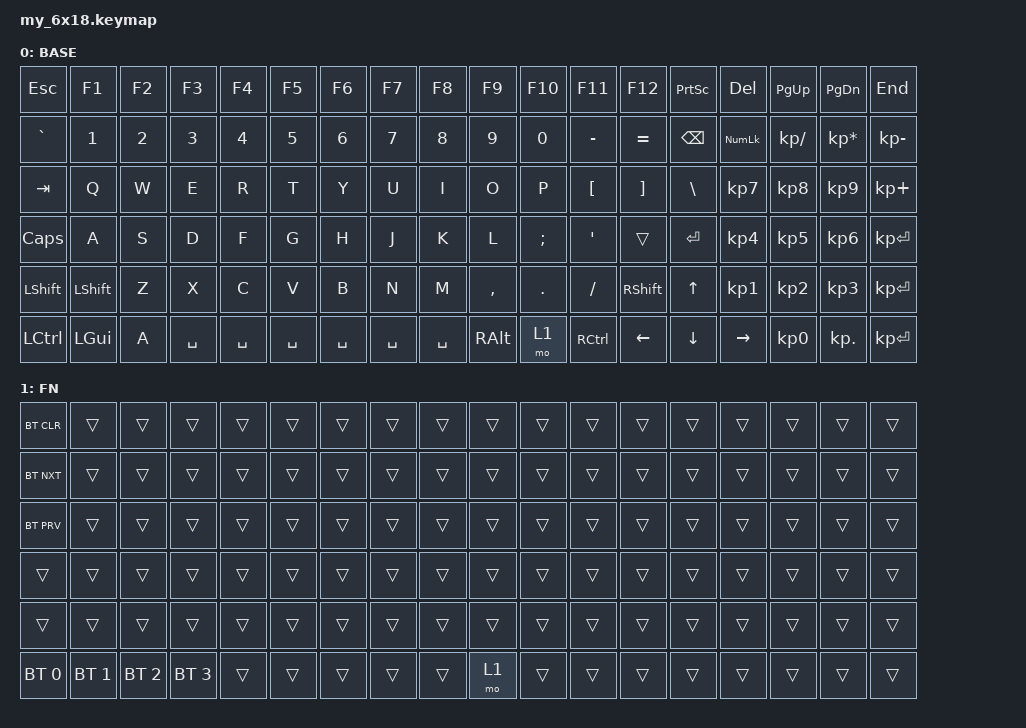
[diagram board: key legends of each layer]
#include <behaviors.dtsi>
#include <dt-bindings/zmk/keys.h>
#include <dt-bindings/zmk/bt.h>
#include <dt-bindings/zmk/outputs.h>

#define BASE 0
#define FN   1

/ {
    keymap {
        compatible = "zmk,keymap";

        base_layer {
            label = "BASE";
            bindings = <

                &kp ESC     &kp F1    &kp F2   &kp F3    &kp F4    &kp F5    &kp F6    &kp F7    &kp F8    &kp F9    &kp F10   &kp F11   &kp F12   &kp PSCRN          &kp DEL            &kp PG_UP           &kp PG_DN         &kp END

                &kp GRAVE   &kp N1    &kp N2   &kp N3    &kp N4    &kp N5    &kp N6    &kp N7    &kp N8    &kp N9    &kp N0    &kp MINUS &kp EQUAL &kp BSPC           &kp KP_NUMLOCK     &kp KP_SLASH        &kp KP_MULTIPLY   &kp KP_MINUS

                &kp TAB     &kp Q     &kp W    &kp E     &kp R     &kp T     &kp Y     &kp U     &kp I     &kp O     &kp P     &kp LBKT  &kp RBKT  &kp BSLH           &kp KP_NUMBER_7    &kp KP_NUMBER_8     &kp KP_NUMBER_9   &kp KP_PLUS

                &kp CLCK    &kp A     &kp S    &kp D     &kp F     &kp G     &kp H     &kp J     &kp K     &kp L     &kp SEMI  &kp SQT   &trans    &kp RET            &kp KP_NUMBER_4    &kp KP_NUMBER_5     &kp KP_NUMBER_6   &kp KP_ENTER

                &kp LSHFT   &kp LSHFT &kp Z    &kp X     &kp C     &kp V     &kp B     &kp N     &kp M     &kp COMMA &kp DOT   &kp FSLH  &kp RSHFT         &kp UP     &kp KP_NUMBER_1    &kp KP_NUMBER_2     &kp KP_NUMBER_3   &kp KP_ENTER

                &kp LCTRL   &kp LGUI  &kp A    &kp SPACE &kp SPACE &kp SPACE &kp SPACE &kp SPACE &kp SPACE &kp RALT  &mo 1     &kp RCTRL         &kp LEFT  &kp DOWN   &kp RIGHT          &kp KP_NUMBER_0     &kp KP_DOT        &kp KP_ENTER

            >;
        };

        fn_layer {
            label = "FN";
            bindings = <

                &bt BT_CLR     &trans           &trans           &trans     &trans         &trans     &trans     &trans     &trans     &trans     &trans     &trans     &trans     &trans        &trans     &trans     &trans     &trans

                &bt BT_NXT     &trans           &trans           &trans         &trans     &trans     &trans     &trans     &trans     &trans     &trans     &trans     &trans     &trans        &trans     &trans     &trans     &trans

                &bt BT_PRV     &trans           &trans           &trans         &trans     &trans     &trans     &trans     &trans     &trans     &trans     &trans     &trans     &trans        &trans     &trans     &trans     &trans

                &trans         &trans           &trans           &trans         &trans     &trans     &trans     &trans     &trans     &trans     &trans     &trans     &trans     &trans        &trans     &trans     &trans     &trans

                &trans         &trans           &trans           &trans         &trans     &trans     &trans     &trans     &trans     &trans     &trans     &trans     &trans          &trans   &trans     &trans     &trans     &trans

                &bt BT_SEL 0   &bt BT_SEL 1     &bt BT_SEL 2     &bt BT_SEL 3   &trans     &trans     &trans     &trans     &trans     &mo 1      &trans     &trans            &trans   &trans   &trans     &trans     &trans     &trans

            >;
        };
    };
};
